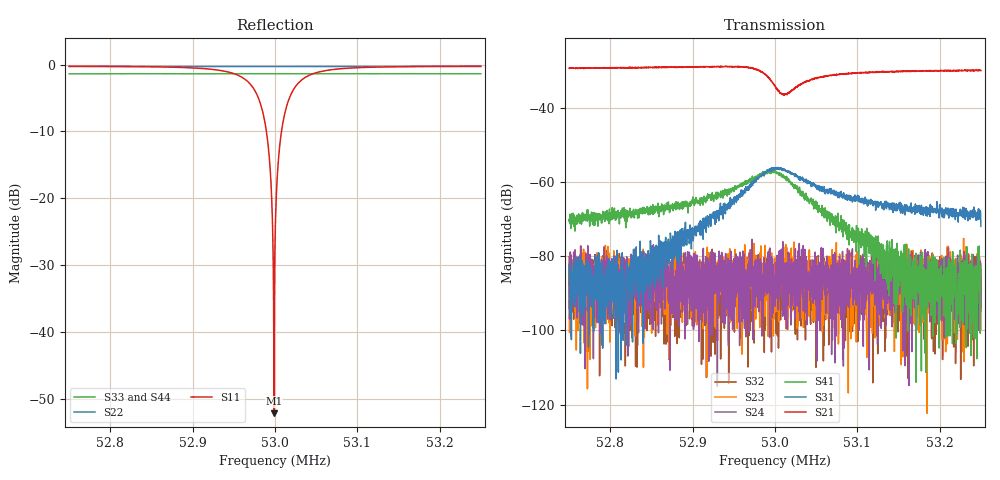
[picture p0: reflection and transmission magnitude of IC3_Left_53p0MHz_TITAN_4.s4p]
#  HZ  S  DB  R  50.00
! Rohde & Schwarz Vector Network Analyzer
! Rohde-Schwarz,ZNB8-4Port,1311601044102961,2.82
! Created: UTC 2/8/2019, 3:50:33 PM
! freq[Hz]  db:S11  ang:S11  db:S12  ang:S12  db:S13  ang:S13  db:S14  ang:S14
!  db:S21  ang:S21  db:S22  ang:S22  db:S23  ang:S23  db:S24  ang:S24
!  db:S31  ang:S31  db:S32  ang:S32  db:S33  ang:S33  db:S34  ang:S34
!  db:S41  ang:S41  db:S42  ang:S42  db:S43  ang:S43  db:S44  ang:S44
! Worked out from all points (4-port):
!   2001 points, 52.75 MHz to 53.25 MHz, reference 50 ohm
!   strongest paths, dB at 52.75 MHz, 52.875 MHz, 53 MHz, 53.125 MHz, 53.25 MHz:
!     S21: -29.3, -29.0, -34.0, -30.4, -30.0
!     S31: -86.5, -76.2, -56.6, -65.6, -72.0
!     S41: -70.2, -66.8, -57.1, -78.3, -82.7
!     S24: -86.0, -95.5, -93.5, -94.6, -94.8
!     S23: -87.7, -79.1, -80.5, -96.8, -82.0
!     S32: -80.2, -85.4, -90.2, -88.4, -93.7
!   lowest |S11| = -52.2 dB at 52.9988 MHz (marker M1), VSWR 1.00, Z = 50 + j0.242 ohm
!   |S11| at or under -10 dB: 52.98956 MHz to 53.00788 MHz (18.33 kHz wide, 0.0346 % of centre)
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5.275e7  -0.25 -62.2  -29.38 131.8  -91.75 164.3  -70.33 -75.8
         -29.32 131.1  -0.30 146.3  -87.72 -167.6  -86.01 -155.8
         -86.50 -84.5  -80.19 -59.1  -1.39 80.9  -82.00 120.2
         -70.22 -79.8  -90.18 66.5  -86.46 -71.1  -1.35 75.3
5.2967e7  -2.56 -107.1  -29.21 104.8  -62.49 47.8  -59.90 -124.5
          -29.07 104.6  -0.30 142.0  -80.80 -85.7  -84.22 55.7
          -61.24 48.7  -80.62 -134.4  -1.38 78.3  -86.87 -154.2
          -59.72 -125.9  -85.38 -130.0  -86.83 -134.6  -1.35 72.7
5.298925e7  -9.74 -138.7  -31.26 90.4  -57.32 20.8  -57.71 -154.3
            -31.27 90.9  -0.30 141.6  -87.94 17.1  -86.20 125.0
            -57.50 22.9  -80.55 -146.5  -1.37 78.1  -86.71 -96.2
            -57.48 -153.9  -90.32 22.7  -86.63 -77.7  -1.35 72.4
5.299875e7  -52.16 101.4  -33.79 90.1  -56.30 3.1  -57.23 -174.9
            -33.79 89.5  -0.30 141.4  -96.91 23.8  -85.74 -177.4
            -56.48 1.1  -96.56 -93.6  -1.38 77.9  -87.84 -145.1
            -57.14 -175.2  -88.40 -8.5  -84.90 34.6  -1.34 72.3
5.300825e7  -9.69 2.2  -36.28 105.1  -56.52 -20.2  -58.05 166.7
            -36.12 106.1  -0.30 141.2  -81.19 -135.9  -80.38 14.0
            -56.83 -17.1  -86.02 -85.5  -1.38 77.8  -88.49 21.9
            -58.27 167.7  -82.39 52.5  -93.36 40.9  -1.34 72.2
5.30305e7  -2.51 -29.7  -33.76 133.5  -58.84 -45.8  -62.80 135.5
           -33.83 132.9  -0.29 140.7  -93.42 -55.4  -97.40 -6.1
           -59.52 -51.6  -86.88 107.5  -1.38 77.6  -96.81 143.7
           -62.24 137.6  -86.72 81.9  -102.11 -99.7  -1.35 71.9
5.325e7  -0.24 -75.3  -29.85 120.8  -69.11 -97.0  -87.25 -110.9
         -29.96 120.9  -0.30 136.4  -82.00 -165.9  -94.79 121.4
         -71.95 -99.9  -93.66 41.6  -1.38 75.0  -88.69 111.0
         -82.68 -94.7  -89.42 62.2  -81.80 -154.3  -1.34 69.3
